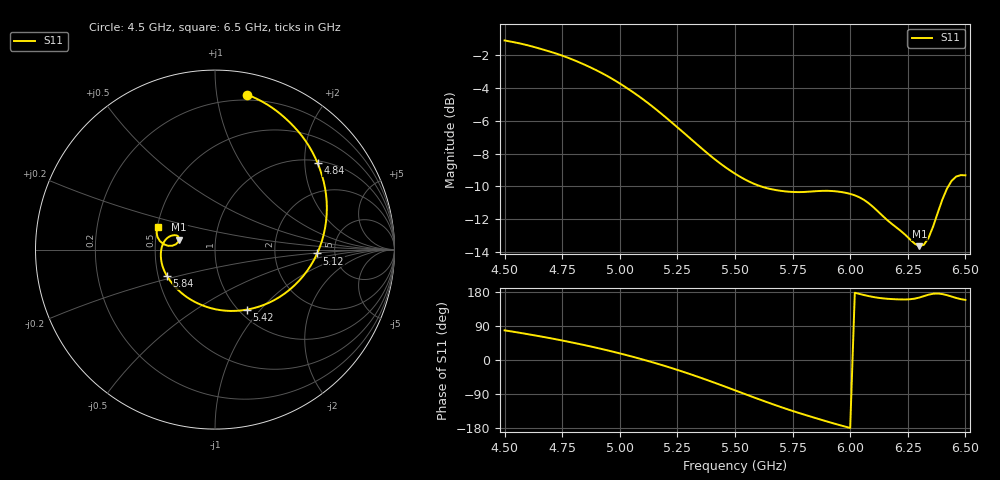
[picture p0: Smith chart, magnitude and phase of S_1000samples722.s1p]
! TOUCHSTONE file generated by CST MICROWAVE STUDIO
! Date and time: Sat Oct 29 03:59:50 2022
! Project name: L.cst
! Parameters = {Di=1.27; Epsilon_r=1.56; InnerDiameter=1.27; Length=2; Lf=10; Lg=60; OuterConductorThickness=0.2921; OuterDiameter=3.6; Wf=3; Wp=41.2; de=1.5; df=6.8; g=0.8; gx=3.06625; gy=2.63902; h=2.34; hf=1.524; px=13.4004; py=9.94742; w=9.7; wx=10.3342; wy=7.30841}
! Header version: 2018
! Port assignment regex: !\s*Touchstone port\s*([0-9]+)\s*=\s*(CST MWS port|CST DS port)\s*([0-9]+|Zmin|Zmax)\s*\(\"(.*)\"\)(\s*mode\s*([0-9]+))?.*
! Touchstone port assignment:
! Touchstone port 1 = CST MWS port 1 ("")
# GHz S DB R 50
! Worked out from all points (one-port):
!   101 points, 4.5 GHz to 6.5 GHz, reference 50 ohm
!   lowest |S11| = -13.6 dB at 6.3 GHz (marker M1), VSWR 1.52, Z = 33.1 + j3.78 ohm
!   |S11| at or under -10 dB: 5.613 GHz to 6.426 GHz (812.9 MHz wide, 13.5 % of centre)
!   S11 on the Smith chart (normalised r, x): 4.5 GHz: 0.16, +1.22; 4.84 GHz: 1.06, +2.32; 5.12 GHz: 3.63, -0.23; 5.42 GHz: 1.09, -0.85; 5.84 GHz: 0.56, -0.18; 6.5 GHz: 0.50, +0.14
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4.5  -1.09 78.2
4.62  -1.46 66.1
4.76  -2.07 50.2
4.84  -2.53 40.1
4.92  -3.07 29.2
5  -3.72 17.4
5.06  -4.27 7.9
5.12  -4.89 -2.2
5.2  -5.79 -16.6
5.26  -6.51 -28.1
5.34  -7.49 -44.5
5.42  -8.43 -61.9
5.5  -9.22 -80.0
5.64  -10.11 -111.5
5.76  -10.35 -136.4
5.84  -10.30 -151.4
5.92  -10.28 -165.9
6  -10.46 -179.3
6.06  -10.82 171.4
6.12  -11.52 164.3
6.26  -13.24 160.3
6.3  -13.65 164.8
6.32  -13.56 168.6
6.34  -13.14 172.3
6.38  -11.61 175.4
6.42  -10.14 171.1
6.44  -9.66 167.5
6.5  -9.32 158.6
